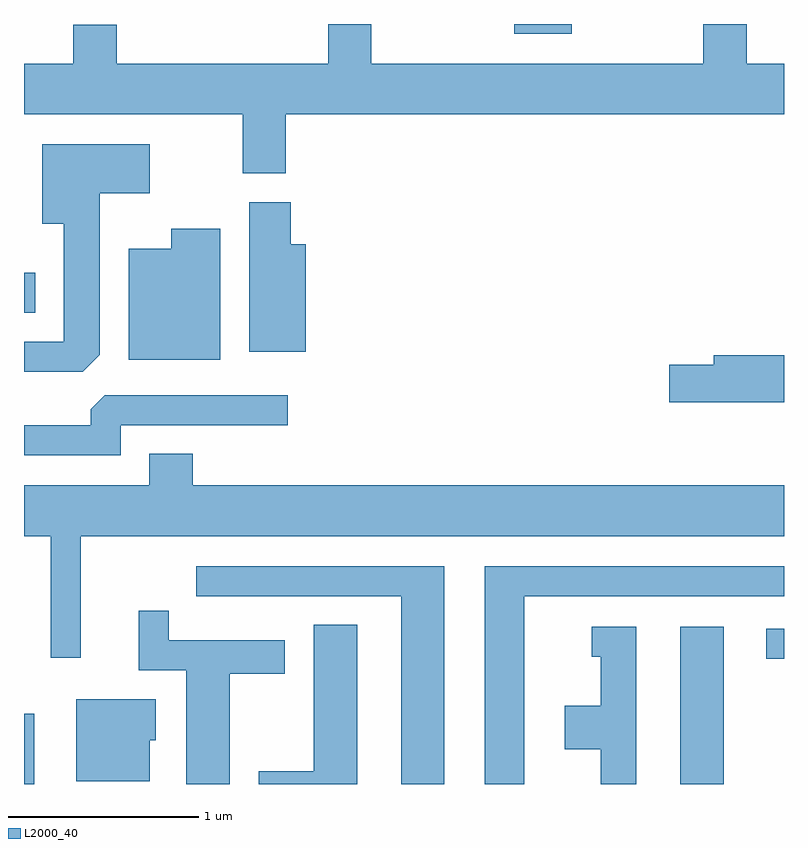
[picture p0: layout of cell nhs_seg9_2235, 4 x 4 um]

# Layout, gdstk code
import gdstk
lib = gdstk.Library(unit=1e-6, precision=1e-09)
def R(c, l, rs):  # rectangles x0, y0, x1, y1
    for r in rs: c.add(gdstk.rectangle(r[:2], r[2:], *l))
def P(c, l, *ps):  # polygons
    for p in ps: c.add(gdstk.Polygon(p, *l))
L2000_40 = (2000, 40)

nhs_seg9_2235 = lib.new_cell('nhs_seg9_2235')
R(nhs_seg9_2235, L2000_40, [(249.611,2070.432,249.664,2070.803), (253.066,2070.432,253.294,2071.259), (253.518,2071.091,253.611,2071.249), (249.611,2072.911,249.669,2073.124), (252.191,2074.381,252.494,2074.432)])
P(nhs_seg9_2235, L2000_40, [(250.989,2073.956),(253.611,2073.956),(253.611,2074.224),(253.414,2074.224),(253.414,2074.432),(253.186,2074.432),(253.186,2074.224),(251.439,2074.224),(251.439,2074.432),(251.211,2074.432),(251.211,2074.224),(250.099,2074.224),(250.099,2074.429),(249.871,2074.429),(249.871,2074.224),(249.611,2074.224),(249.611,2073.956),(250.761,2073.956),(250.761,2073.646),(250.989,2073.646)],
  [(250.009,2072.692),(250.009,2073.541),(250.274,2073.541),(250.274,2073.799),(249.706,2073.799),(249.706,2073.381),(249.821,2073.381),(249.821,2072.759),(249.611,2072.759),(249.611,2072.601),(249.919,2072.601)],
  [(251.094,2073.274),(251.014,2073.274),(251.014,2073.494),(250.796,2073.494),(250.796,2072.706),(251.094,2072.706)],
  [(250.644,2073.354),(250.386,2073.354),(250.386,2073.249),(250.161,2073.249),(250.161,2072.666),(250.644,2072.666)],
  [(253.611,2072.689),(253.241,2072.689),(253.241,2072.639),(253.006,2072.639),(253.006,2072.441),(253.611,2072.441)],
  [(250.119,2072.321),(250.998,2072.321),(250.998,2072.479),(250.037,2072.479),(249.961,2072.404),(249.961,2072.319),(249.611,2072.319),(249.611,2072.161),(250.119,2072.161)],
  [(249.909,2071.736),(253.611,2071.736),(253.611,2072.004),(250.499,2072.004),(250.499,2072.169),(250.271,2072.169),(250.271,2072.004),(249.611,2072.004),(249.611,2071.736),(249.751,2071.736),(249.751,2071.097),(249.909,2071.097)],
  [(251.824,2071.579),(250.518,2071.579),(250.518,2071.421),(251.596,2071.421),(251.596,2070.432),(251.824,2070.432)],
  [(252.244,2071.421),(253.611,2071.421),(253.611,2071.579),(252.036,2071.579),(252.036,2070.432),(252.244,2070.432)],
  [(250.694,2071.011),(250.984,2071.011),(250.984,2071.189),(250.374,2071.189),(250.374,2071.343),(250.216,2071.343),(250.216,2071.031),(250.466,2071.031),(250.466,2070.432),(250.694,2070.432)],
  [(251.364,2071.269),(251.136,2071.269),(251.136,2070.499),(250.846,2070.499),(250.846,2070.432),(251.364,2070.432)],
  [(252.834,2071.259),(252.598,2071.259),(252.598,2071.101),(252.646,2071.101),(252.646,2070.844),(252.456,2070.844),(252.456,2070.616),(252.646,2070.616),(252.646,2070.432),(252.834,2070.432)],
  [(250.274,2070.661),(250.304,2070.661),(250.304,2070.879),(249.886,2070.879),(249.886,2070.446),(250.274,2070.446)])

lib.write_gds('nhs_seg9_2235.gds')
